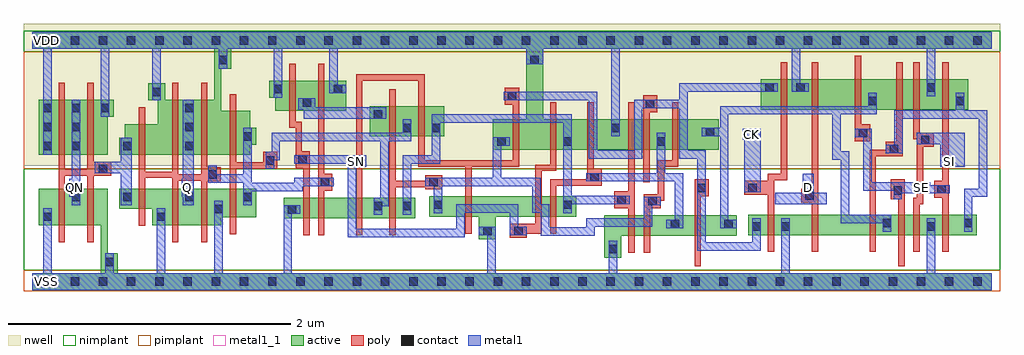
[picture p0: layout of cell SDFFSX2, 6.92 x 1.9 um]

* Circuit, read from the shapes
.subckt SDFFSX2 CK D Q QN SE SI SN VDD VSS
M1 QN n1 VSS VSS nfet w=0.26u l=0.045u m=2
M2 VSS n2 n1 VSS nfet w=0.145u l=0.045u
M3 Q n2 VSS VSS nfet w=0.26u l=0.045u m=2
M4 n2 n3 VSS VSS nfet w=0.205u l=0.045u
M5 n4 SN VSS VSS nfet w=0.145u l=0.045u
M6 n5 n2 n4 VSS nfet w=0.145u l=0.045u
M7 n3 n6 n5 VSS nfet w=0.145u l=0.045u
M8 n7 n8 n3 VSS nfet w=0.145u l=0.045u
M9 VSS n6 n8 VSS nfet w=0.145u l=0.045u
M10 n9 SN VSS VSS nfet w=0.145u l=0.045u
M11 n7 n10 n9 VSS nfet w=0.145u l=0.045u
M12 n11 n7 VSS VSS nfet w=0.145u l=0.045u
M13 n10 n8 n11 VSS nfet w=0.145u l=0.045u
M14 n12 n6 n10 VSS nfet w=0.145u l=0.045u
M15 VSS CK n6 VSS nfet w=0.145u l=0.045u
M16 n13 D VSS VSS nfet w=0.145u l=0.045u
M17 n12 n14 n13 VSS nfet w=0.145u l=0.045u
M18 n15 SE n12 VSS nfet w=0.145u l=0.045u
M19 VSS SI n15 VSS nfet w=0.145u l=0.045u
M20 n14 SE VSS VSS nfet w=0.145u l=0.045u
M21 QN n1 VDD VDD pfet w=0.39u l=0.045u m=2
M22 VDD n2 n1 VDD pfet w=0.215u l=0.045u
M23 Q n2 VDD VDD pfet w=0.39u l=0.045u m=2
M24 n2 n3 VDD VDD pfet w=0.31u l=0.045u
M25 n16 SN VDD VDD pfet w=0.215u l=0.045u
M26 VDD n2 n16 VDD pfet w=0.215u l=0.045u
M27 n3 n8 n16 VDD pfet w=0.215u l=0.045u
M28 n7 n6 n3 VDD pfet w=0.215u l=0.045u
M29 VDD n6 n8 VDD pfet w=0.215u l=0.045u
M30 n7 SN VDD VDD pfet w=0.215u l=0.045u
M31 VDD n10 n7 VDD pfet w=0.215u l=0.045u
M32 n17 n7 VDD VDD pfet w=0.215u l=0.045u
M33 n10 n6 n17 VDD pfet w=0.215u l=0.045u
M34 n12 n8 n10 VDD pfet w=0.215u l=0.045u
M35 VDD CK n6 VDD pfet w=0.215u l=0.045u
M36 n18 D VDD VDD pfet w=0.215u l=0.045u
M37 n12 SE n18 VDD pfet w=0.215u l=0.045u
M38 n19 n14 n12 VDD pfet w=0.215u l=0.045u
M39 VDD SI n19 VDD pfet w=0.215u l=0.045u
M40 n14 SE VDD VDD pfet w=0.215u l=0.045u
.ends

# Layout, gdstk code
import gdstk
lib = gdstk.Library(unit=1e-6, precision=5e-10)
def R(c, l, rs):  # rectangles x0, y0, x1, y1
    for r in rs: c.add(gdstk.rectangle(r[:2], r[2:], *l))
def A(c, l, x, y, w, h, nx, ny, dx, dy):  # array of equal rectangles
    R(c, l, [(x+i*dx, y+j*dy, x+i*dx+w, y+j*dy+h) for i in range(nx) for j in range(ny)])
def P(c, l, *ps):  # polygons
    for p in ps: c.add(gdstk.Polygon(p, *l))
active = (1, 0)
nwell = (2, 0)
poly = (3, 0)
nimplant = (4, 0)
pimplant = (5, 0)
contact = (6, 0)
metal1 = (7, 0)
metal1_1 = (7, 1)

sdffsx2 = lib.new_cell('SDFFSX2')
R(sdffsx2, active, [(5.075,0.33,6.695,0.475), (1.78,0.45,2.715,0.595), (2.39,1.03,2.92,1.245), (5.165,1.22,6.635,1.435)])
P(sdffsx2, active, [(0,1.77),(6.8,1.77),(6.8,1.65),(3.62,1.65),(3.62,1.15),(4.865,1.15),(4.865,0.935),(3.265,0.935),(3.265,1.15),(3.5,1.15),(3.5,1.65),(1.41,1.65),(1.41,1.51),(1.34,1.51),(1.34,1.21),(1.545,1.21),(1.545,1.09),(1.585,1.09),(1.585,0.97),(1.545,0.97),(1.545,0.9),(0.615,0.9),(0.615,1.02),(0.655,1.02),(0.655,1.115),(0.89,1.115),(0.89,1.285),(0.82,1.285),(0.82,1.405),(0.94,1.405),(0.94,1.29),(1.29,1.29),(1.29,1.65),(0,1.65)],
  [(0.045,1.29),(0.575,1.29),(0.575,1.17),(0.535,1.17),(0.535,0.9),(0.045,0.9)],
  [(1.68,1.425),(2.225,1.425),(2.225,1.21),(1.72,1.21),(1.72,1.305),(1.68,1.305)],
  [(0.615,0.66),(1.585,0.66),(1.585,0.455),(1.34,0.455),(1.34,0.4),(0.85,0.4),(0.85,0.515),(0.615,0.515)],
  [(0.045,0.66),(0.535,0.66),(0.535,0.2),(0.605,0.2),(0.605,0.06),(6.8,0.06),(6.8,-0.06),(0,-0.06),(0,0.06),(0.485,0.06),(0.485,0.4),(0.045,0.4)],
  [(2.815,0.605),(3.855,0.605),(3.855,0.46),(3.285,0.46),(3.285,0.3),(3.165,0.3),(3.165,0.46),(2.815,0.46)],
  [(4.055,0.47),(4.995,0.47),(4.995,0.325),(4.175,0.325),(4.175,0.17),(4.055,0.17)])
R(sdffsx2, nwell, [(-0.06,0.82,6.86,1.83)])
P(sdffsx2, poly, [(0.185,1.41),(0.23,1.41),(0.23,0.795),(0.39,0.795),(0.39,1.41),(0.435,1.41),(0.435,0.85),(0.56,0.85),(0.56,0.75),(0.435,0.75),(0.435,0.28),(0.39,0.28),(0.39,0.75),(0.23,0.75),(0.23,0.28),(0.185,0.28)],
  [(1.82,1.545),(1.865,1.545),(1.865,1.135),(1.91,1.135),(1.91,0.925),(1.965,0.925),(1.965,0.33),(1.92,0.33),(1.92,0.805),(1.865,0.805),(1.865,1.09),(1.82,1.09)],
  [(2.025,1.545),(2.07,1.545),(2.07,0.765),(2.125,0.765),(2.125,0.645),(2.07,0.645),(2.07,0.33),(2.025,0.33)],
  [(2.295,1.47),(2.78,1.47),(2.78,0.86),(3.405,0.86),(3.405,1.255),(3.35,1.255),(3.35,1.375),(3.45,1.375),(3.45,0.815),(3.115,0.815),(3.115,0.34),(3.07,0.34),(3.07,0.815),(2.735,0.815),(2.735,1.425),(2.34,1.425),(2.34,0.33),(2.295,0.33)],
  [(0.755,1.235),(0.8,1.235),(0.8,0.78),(0.99,0.78),(0.99,1.41),(1.035,1.41),(1.035,0.76),(1.195,0.76),(1.195,1.41),(1.24,1.41),(1.24,0.81),(1.335,0.81),(1.335,0.71),(1.24,0.71),(1.24,0.28),(1.195,0.28),(1.195,0.715),(1.035,0.715),(1.035,0.28),(0.99,0.28),(0.99,0.735),(0.8,0.735),(0.8,0.395),(0.755,0.395)],
  [(1.4,1.33),(1.445,1.33),(1.445,0.845),(1.635,0.845),(1.635,0.92),(1.735,0.92),(1.735,0.8),(1.445,0.8),(1.445,0.335),(1.4,0.335)],
  [(2.53,1.365),(2.575,1.365),(2.575,0.715),(2.785,0.715),(2.785,0.755),(2.905,0.755),(2.905,0.655),(2.785,0.655),(2.785,0.67),(2.575,0.67),(2.575,0.33),(2.53,0.33)],
  [(4.33,1.32),(4.43,1.32),(4.43,1.2),(4.375,1.2),(4.375,0.705),(4.33,0.705)],
  [(5.305,1.555),(5.35,1.555),(5.35,0.72),(5.26,0.72),(5.26,0.21),(5.215,0.21),(5.215,0.615),(5.045,0.615),(5.045,0.715),(5.215,0.715),(5.215,0.765),(5.305,0.765)],
  [(5.525,1.555),(5.57,1.555),(5.57,0.21),(5.525,0.21),(5.525,0.56),(5.45,0.56),(5.45,0.66),(5.525,0.66)],
  [(5.83,1.6),(5.875,1.6),(5.875,1.115),(5.94,1.115),(5.94,0.995),(5.83,0.995)],
  [(6.125,1.555),(6.17,1.555),(6.17,0.89),(5.98,0.89),(5.98,0.21),(5.935,0.21),(5.935,0.935),(6.05,0.935),(6.05,0.99),(6.125,0.99)],
  [(6.245,1.555),(6.29,1.555),(6.29,1.055),(6.39,1.055),(6.39,0.955),(6.315,0.955),(6.315,0.55),(6.29,0.55),(6.29,0.21),(6.245,0.21),(6.245,0.595),(6.27,0.595),(6.27,1.01),(6.245,1.01)],
  [(6.45,1.555),(6.495,1.555),(6.495,0.21),(6.45,0.21),(6.45,0.595),(6.395,0.595),(6.395,0.715),(6.45,0.715)],
  [(3.67,1.27),(3.715,1.27),(3.715,0.785),(3.61,0.785),(3.61,0.34),(3.505,0.34),(3.505,0.31),(3.385,0.31),(3.385,0.41),(3.565,0.41),(3.565,0.83),(3.67,0.83)],
  [(3.935,1.27),(3.98,1.27),(3.98,0.8),(4.035,0.8),(4.035,0.68),(3.715,0.68),(3.715,0.34),(3.67,0.34),(3.67,0.725),(3.935,0.725)],
  [(4.225,1.27),(4.27,1.27),(4.27,0.205),(4.225,0.205),(4.225,0.52),(4.125,0.52),(4.125,0.64),(4.225,0.64)],
  [(4.535,1.27),(4.58,1.27),(4.58,0.815),(4.48,0.815),(4.48,0.575),(4.455,0.575),(4.455,0.52),(4.38,0.52),(4.38,0.205),(4.335,0.205),(4.335,0.62),(4.435,0.62),(4.435,0.86),(4.535,0.86)],
  [(4.695,0.725),(4.795,0.725),(4.795,0.605),(4.74,0.605),(4.74,0.11),(4.695,0.11)],
  [(6.085,0.725),(6.185,0.725),(6.185,0.11),(6.14,0.11),(6.14,0.585),(6.085,0.585)])
R(sdffsx2, nimplant, [(-0.06,0.08,6.86,0.8), (-0.06,1.63,6.86,1.78)])
R(sdffsx2, pimplant, [(-0.06,-0.07,6.86,0.08), (-0.06,0.8,6.86,1.63)])
A(sdffsx2, contact, 0.07, -0.03, 0.06, 0.06, 34, 2, 0.2, 1.71)
A(sdffsx2, contact, 1.085, 0.93, 0.06, 0.06, 1, 3, 0, 0.135)
A(sdffsx2, contact, 0.075, 1.2, 0.06, 0.06, 3, 1, 0.205, 0)
R(sdffsx2, contact, [(0.515,0.11,0.575,0.17), (4.085,0.2,4.145,0.26), (3.195,0.33,3.255,0.39), (3.415,0.33,3.475,0.39), (5.105,0.36,5.165,0.42), (5.31,0.36,5.37,0.42), (6.34,0.36,6.4,0.42), (4.525,0.38,4.585,0.44), (4.905,0.38,4.965,0.44), (6.03,0.385,6.09,0.445), (6.605,0.385,6.665,0.445), (0.075,0.43,0.135,0.49), (0.88,0.43,0.94,0.49), (1.81,0.48,1.87,0.54), (1.29,0.485,1.35,0.545), (2.42,0.505,2.48,0.565), (2.625,0.505,2.685,0.565), (2.845,0.515,2.905,0.575), (3.765,0.515,3.825,0.575), (4.365,0.54,4.425,0.6), (4.145,0.55,4.205,0.61), (0.28,0.57,0.34,0.63), (0.645,0.57,0.705,0.63), (1.085,0.57,1.145,0.63), (1.495,0.57,1.555,0.63), (5.48,0.58,5.54,0.64), (6.105,0.615,6.165,0.675), (6.415,0.625,6.475,0.685), (4.715,0.635,4.775,0.695), (5.075,0.635,5.135,0.695), (2.045,0.675,2.105,0.735), (2.815,0.675,2.875,0.735), (3.955,0.71,4.015,0.77), (1.245,0.73,1.305,0.79), (0.47,0.77,0.53,0.83), (1.655,0.83,1.715,0.89), (1.885,0.835,1.945,0.895), (6.08,0.91,6.14,0.97), (0.075,0.93,0.135,0.99), (0.28,0.93,0.34,0.99), (0.645,0.93,0.705,0.99), (3.295,0.965,3.355,1.025), (3.765,0.965,3.825,1.025), (4.425,0.965,4.485,1.025), (6.3,0.975,6.36,1.035), (1.495,1,1.555,1.06), (5.86,1.025,5.92,1.085), (4.775,1.03,4.835,1.09), (2.625,1.06,2.685,1.12), (2.83,1.06,2.89,1.12), (4.105,1.06,4.165,1.12), (0.075,1.065,0.135,1.125), (0.28,1.065,0.34,1.125), (2.42,1.155,2.48,1.215), (4.35,1.23,4.41,1.29), (1.915,1.24,1.975,1.3), (5.925,1.25,5.985,1.31), (6.545,1.25,6.605,1.31), (3.37,1.285,3.43,1.345), (0.85,1.315,0.91,1.375), (1.71,1.335,1.77,1.395), (2.135,1.335,2.195,1.395), (5.195,1.345,5.255,1.405), (5.415,1.345,5.475,1.405), (6.34,1.345,6.4,1.405), (1.32,1.54,1.38,1.6), (3.53,1.54,3.59,1.6)])
P(sdffsx2, metal1, [(0,1.77),(6.8,1.77),(6.8,1.65),(6.4,1.65),(6.4,1.315),(6.34,1.315),(6.34,1.65),(5.445,1.65),(5.445,1.405),(5.505,1.405),(5.505,1.345),(5.385,1.345),(5.385,1.65),(4.165,1.65),(4.165,1.03),(4.105,1.03),(4.105,1.65),(3.62,1.65),(3.62,1.54),(3.5,1.54),(3.5,1.65),(2.165,1.65),(2.165,1.395),(2.225,1.395),(2.225,1.335),(2.105,1.335),(2.105,1.65),(1.77,1.65),(1.77,1.305),(1.71,1.305),(1.71,1.65),(1.38,1.65),(1.38,1.51),(1.32,1.51),(1.32,1.65),(0.91,1.65),(0.91,1.285),(0.85,1.285),(0.85,1.65),(0.545,1.65),(0.545,1.17),(0.485,1.17),(0.485,1.65),(0.135,1.65),(0.135,0.9),(0.075,0.9),(0.075,1.65),(0,1.65)],
  [(0.28,1.29),(0.34,1.29),(0.34,0.54),(0.28,0.54),(0.28,0.6),(0.26,0.6),(0.26,0.73),(0.28,0.73)],
  [(4.585,1.405),(5.285,1.405),(5.285,1.345),(4.645,1.345),(4.645,0.93),(4.775,0.93),(4.775,0.28),(5.105,0.28),(5.105,0.45),(5.165,0.45),(5.165,0.22),(4.715,0.22),(4.715,0.87),(4.585,0.87),(4.585,1.23),(4.325,1.23),(4.325,0.87),(3.945,0.87),(3.945,1.285),(3.34,1.285),(3.34,1.345),(4.005,1.345),(4.005,0.93),(4.265,0.93),(4.265,1.29),(4.585,1.29)],
  [(1.065,1.29),(1.145,1.29),(1.145,0.54),(1.065,0.54),(1.065,0.6),(1.06,0.6),(1.06,0.73),(1.065,0.73)],
  [(0.625,1.02),(0.705,1.02),(0.705,0.54),(0.625,0.54),(0.625,0.77),(0.44,0.77),(0.44,0.85),(0.625,0.85)],
  [(1.885,1.3),(2.005,1.3),(2.005,1.235),(2.51,1.235),(2.51,1.155),(1.925,1.155),(1.925,1.22),(1.885,1.22)],
  [(1.245,0.82),(1.305,0.82),(1.305,0.76),(1.495,0.76),(1.495,1.09),(1.555,1.09),(1.555,0.7),(1.855,0.7),(1.855,0.735),(2.135,0.735),(2.135,0.675),(1.915,0.675),(1.915,0.64),(1.555,0.64),(1.555,0.54),(1.495,0.54),(1.495,0.7),(1.245,0.7)],
  [(2.83,1.185),(3.825,1.185),(3.825,0.61),(4.235,0.61),(4.235,0.55),(3.825,0.55),(3.825,0.485),(3.765,0.485),(3.765,1.125),(2.89,1.125),(2.89,0.835),(2.685,0.835),(2.685,0.475),(2.625,0.475),(2.625,0.895),(2.83,0.895)],
  [(2.625,1.15),(2.685,1.15),(2.685,0.995),(2.525,0.995),(2.525,0.535),(2.48,0.535),(2.48,0.475),(2.42,0.475),(2.42,0.595),(2.465,0.595),(2.465,0.995),(1.755,0.995),(1.755,0.86),(1.715,0.86),(1.715,0.8),(1.655,0.8),(1.655,0.92),(1.695,0.92),(1.695,1.055),(2.625,1.055)],
  [(1.855,0.895),(2.365,0.895),(2.365,0.815),(2.295,0.815),(2.295,0.375),(3.005,0.375),(3.005,0.55),(3.445,0.55),(3.445,0.39),(3.505,0.39),(3.505,0.33),(3.385,0.33),(3.385,0.49),(3.065,0.49),(3.065,0.315),(2.235,0.315),(2.235,0.835),(1.855,0.835)],
  [(0.075,0.52),(0.135,0.52),(0.135,0.06),(0.515,0.06),(0.515,0.2),(0.575,0.2),(0.575,0.06),(0.88,0.06),(0.88,0.52),(0.94,0.52),(0.94,0.06),(1.29,0.06),(1.29,0.575),(1.35,0.575),(1.35,0.06),(1.78,0.06),(1.78,0.54),(1.9,0.54),(1.9,0.48),(1.84,0.48),(1.84,0.06),(3.225,0.06),(3.225,0.33),(3.165,0.33),(3.165,0.39),(3.285,0.39),(3.285,0.06),(4.085,0.06),(4.085,0.29),(4.145,0.29),(4.145,0.06),(5.31,0.06),(5.31,0.45),(5.37,0.45),(5.37,0.06),(6.34,0.06),(6.34,0.45),(6.4,0.45),(6.4,0.06),(6.8,0.06),(6.8,-0.06),(0,-0.06),(0,0.06),(0.075,0.06)],
  [(3.265,1.025),(3.385,1.025),(3.385,0.965),(3.325,0.965),(3.325,0.735),(3.605,0.735),(3.605,0.55),(3.665,0.55),(3.665,0.385),(3.925,0.385),(3.925,0.45),(4.335,0.45),(4.335,0.6),(4.455,0.6),(4.455,0.54),(4.395,0.54),(4.395,0.39),(3.985,0.39),(3.985,0.325),(3.605,0.325),(3.605,0.49),(3.545,0.49),(3.545,0.675),(2.905,0.675),(2.905,0.485),(2.845,0.485),(2.845,0.675),(2.785,0.675),(2.785,0.735),(3.265,0.735)],
  [(5.925,1.34),(5.985,1.34),(5.985,1.185),(5.73,1.185),(5.73,0.925),(5.79,0.925),(5.79,0.475),(6.09,0.475),(6.09,0.355),(6.03,0.355),(6.03,0.415),(5.73,0.415),(5.73,0.865),(5.67,0.865),(5.67,1.185),(4.935,1.185),(4.935,0.44),(4.995,0.44),(4.995,0.38),(4.875,0.38),(4.875,1.03),(4.745,1.03),(4.745,1.09),(4.875,1.09),(4.875,1.245),(5.925,1.245)],
  [(6.545,1.34),(6.605,1.34),(6.605,1.215),(6.77,1.215),(6.77,0.6),(6.665,0.6),(6.665,0.355),(6.605,0.355),(6.605,0.66),(6.71,0.66),(6.71,1.155),(6.17,1.155),(6.17,0.91),(6.05,0.91),(6.05,0.97),(6.11,0.97),(6.11,1.215),(6.545,1.215)],
  [(4.425,1.055),(4.485,1.055),(4.485,0.77),(4.615,0.77),(4.615,0.38),(4.495,0.38),(4.495,0.44),(4.555,0.44),(4.555,0.71),(3.925,0.71),(3.925,0.77),(4.425,0.77)],
  [(5.83,1.085),(5.95,1.085),(5.95,0.705),(6.365,0.705),(6.365,0.685),(6.505,0.685),(6.505,0.625),(6.165,0.625),(6.165,0.585),(6.105,0.585),(6.105,0.645),(5.89,0.645),(5.89,1.025),(5.83,1.025)],
  [(5.46,0.765),(5.54,0.765),(5.54,0.63),(5.63,0.63),(5.63,0.55),(5.265,0.55),(5.265,0.63),(5.46,0.63)],
  [(5.035,1.085),(5.165,1.085),(5.165,0.635),(5.045,0.635),(5.045,1.005),(5.035,1.005)],
  [(6.27,1.055),(6.61,1.055),(6.61,0.815),(6.435,0.815),(6.435,0.975),(6.27,0.975)])
R(sdffsx2, metal1_1, [(0.06,-0.04,0.14,0.04), (0.26,0.625,0.34,0.705), (1.06,0.625,1.14,0.705), (5.46,0.625,5.54,0.705), (6.26,0.625,6.34,0.705), (2.26,0.815,2.34,0.895), (6.46,0.815,6.54,0.895), (5.06,1.005,5.14,1.085), (0.06,1.67,0.14,1.75)])
sdffsx2.add(gdstk.Label('Q', (1.1,0.665), layer=7, texttype=1))
sdffsx2.add(gdstk.Label('QN', (0.3,0.665), layer=7, texttype=1))
sdffsx2.add(gdstk.Label('SE', (6.3,0.665), layer=7, texttype=1))
sdffsx2.add(gdstk.Label('SI', (6.5,0.855), layer=7, texttype=1))
sdffsx2.add(gdstk.Label('D', (5.5,0.665), layer=7, texttype=1))
sdffsx2.add(gdstk.Label('CK', (5.1,1.045), layer=7, texttype=1))
sdffsx2.add(gdstk.Label('SN', (2.3,0.855), layer=7, texttype=1))
sdffsx2.add(gdstk.Label('VDD', (0.1,1.71), layer=7, texttype=1))
sdffsx2.add(gdstk.Label('VSS', (0.1,0), layer=7, texttype=1))
sdffsx2.add(gdstk.Label('SDFFSX2', (0,0), layer=63, texttype=0))

lib.write_gds('SDFFSX2.gds')
